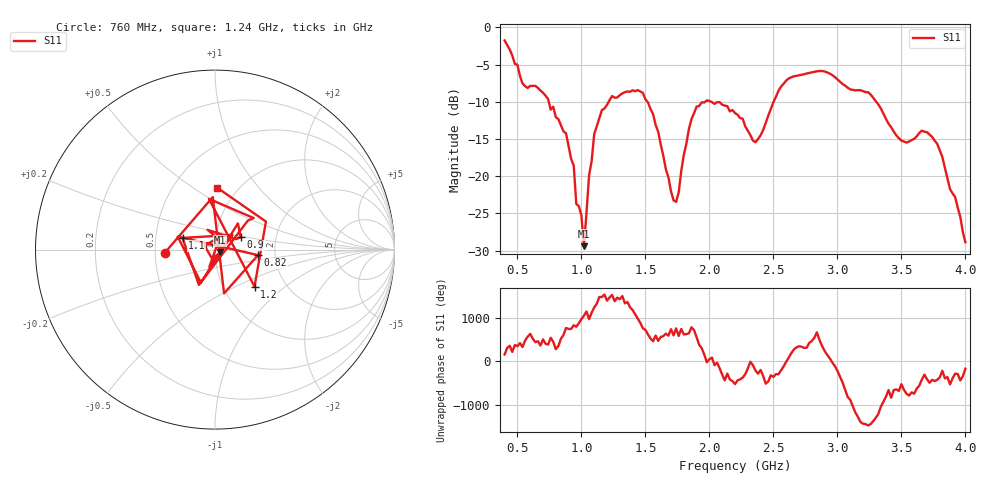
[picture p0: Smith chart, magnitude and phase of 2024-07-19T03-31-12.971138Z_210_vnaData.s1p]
!Created with skrf (http://scikit-rf.org).
# Hz S RI R 50.0
!freq ReS11 ImS11
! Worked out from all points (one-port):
!   181 points, 400 MHz to 4 GHz, reference 50 ohm
!   lowest |S11| = -29.4 dB at 1.02 GHz (marker M1), VSWR 1.07, Z = 53.1 - j1.7 ohm
!   |S11| at or under -10 dB: 745.1 MHz to 1.213 GHz (468.1 MHz wide, 47.8 % of centre); 2.015 GHz to 2.501 GHz (486.3 MHz wide, 21.5 % of centre); 3.303 GHz to end of sweep (the widest 3 of 4)
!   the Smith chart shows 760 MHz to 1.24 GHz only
!   S11 on the Smith chart (normalised r, x): 760 MHz: 0.56, -0.02; 820 MHz: 1.63, -0.11; 900 MHz: 1.32, +0.19; 1.1 GHz: 0.69, +0.09; 1.2 GHz: 1.40, -0.63; 1.24 GHz: 0.80, +0.63
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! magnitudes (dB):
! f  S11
! 400 MHz  -1.8
! 540 MHz  -7.5
! 760 MHz  -11.1
! 820 MHz  -12.3
! 860 MHz  -14.0
! 900 MHz  -16.0
! 940 MHz  -18.6
! 960 MHz  -23.7
! 1 GHz  -25.3
! 1.02 GHz  -29.4
! 1.06 GHz  -19.9
! 1.1 GHz  -14.3
! 1.2 GHz  -10.4
! 1.24 GHz  -9.2
! 1.3 GHz  -9.1
! 1.48 GHz  -8.8
! 1.6 GHz  -14.0
! 1.72 GHz  -23.2
! 1.76 GHz  -22.2
! 1.84 GHz  -13.6
! 1.9 GHz  -10.7
! 2.2 GHz  -11.5
! 2.36 GHz  -15.4
! 2.66 GHz  -6.6
! 3.1 GHz  -8.3
! 3.56 GHz  -15.3
! 3.78 GHz  -15.7
! 4 GHz  -28.9
